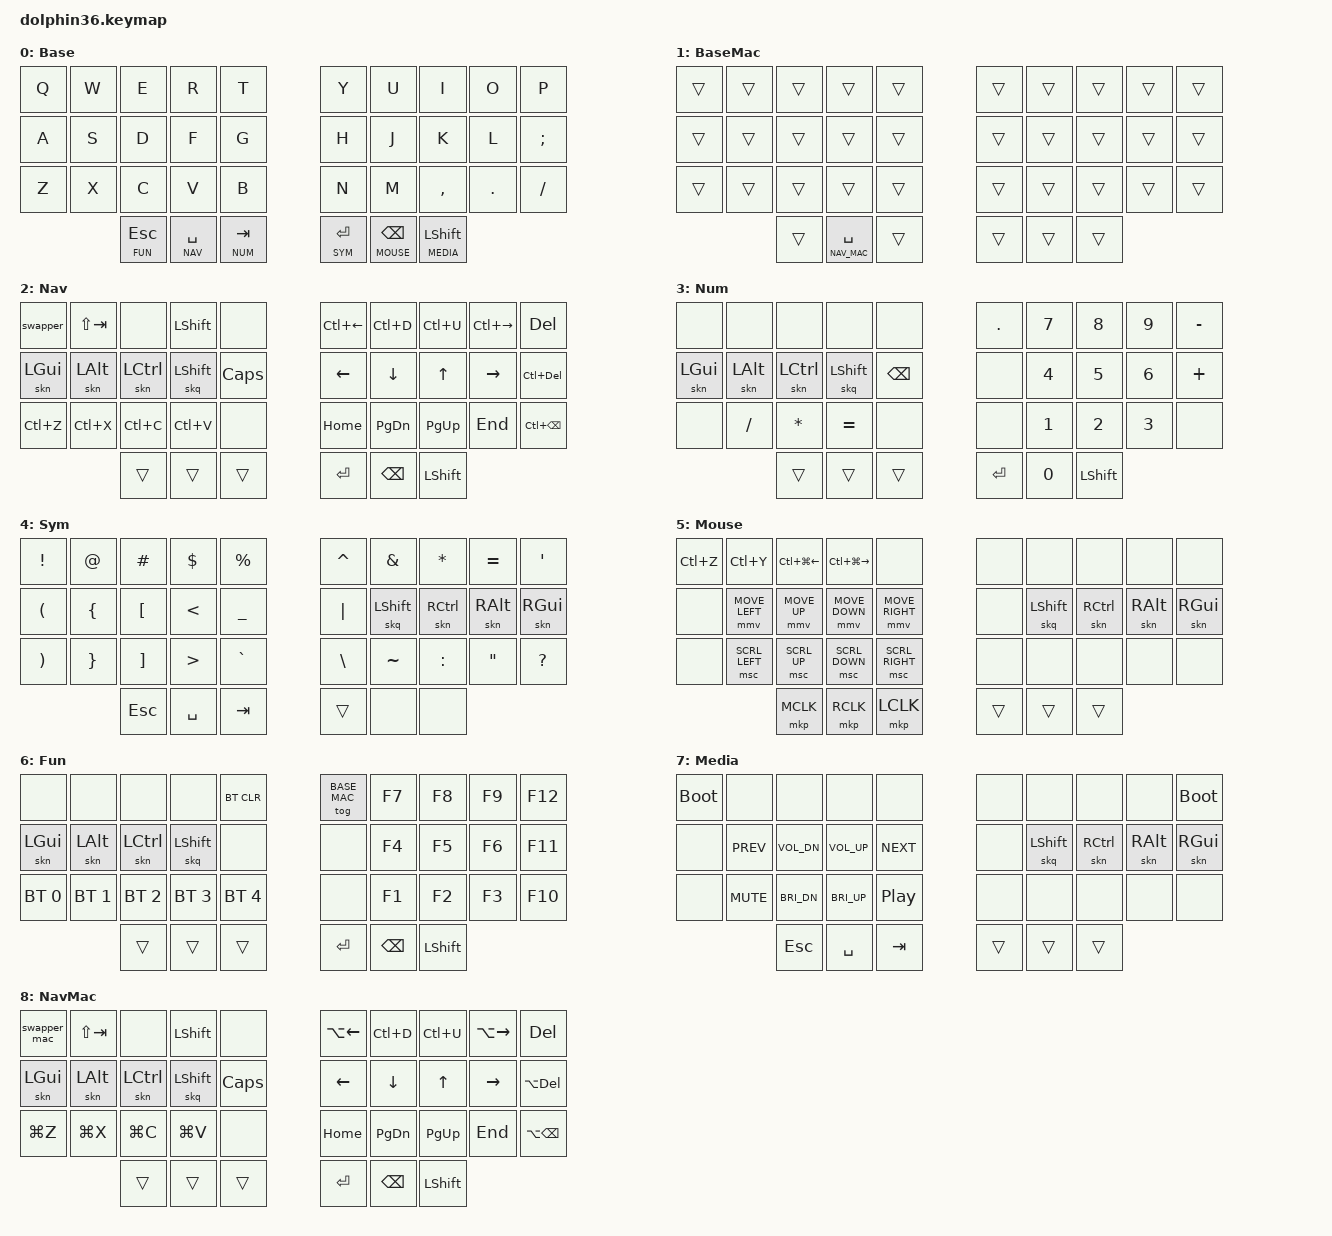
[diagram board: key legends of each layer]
/*
 * Dolphin36 36 键布局
 * 自制 PCB = Ferris Sweep 核心区 + 每侧 3 拇指键（3x5+3 Corne 黄金布局）
 * SW1~SW17 pin 分配沿用原版 cradio，SW18 为新增拇指键
 *
 * 布局：3x5+3 (每侧 18 键)
 * 拇指键：
 *   左（外→内）: ESC(FUN) SPACE(NAV) TAB(NUM)
 *   右（内→外）: ENTER(SYM) BSPC(MOUSE) LSHFT(MEDIA)
 *   Combo：仅保留双拇指切层（左 SPACE+TAB = FUN，右 ENTER+BSPC = MEDIA）；
 *          主键区 S+D / F+J / J+K 已移除（拇指区已有物理 ESC 与 LSHFT）
 *
 * Layer 0: Base     - QWERTY
 * Layer 1: BaseMac  - Mac 模式开关层（FUN+Y 切换）：全透明，仅左拇指 SPACE 进入 NavMac
 * Layer 2: Nav      - 左手 OSM + 右手 Vim HJKL
 * Layer 3: Numpad   - 左手算术运算 + 右手纯数字九宫格
 * Layer 4: Symbols  - 左手符号区 + 右手 OSM 修饰键
 * Layer 5: Mouse    - 左手鼠标移动/滚轮/点击 + 右手 OSM
 * Layer 6: Function - 左手 OSM/BT + 右手 F 键九宫格（Y 位 = Win/Mac 模式开关）
 * Layer 7: Media    - 左手媒体/音量/亮度 + 右手 OSM
 * Layer 8: NavMac   - Nav 的 Mac 版 (Cmd 剪贴板, Option 词跳)
 *
 * SPDX-License-Identifier: MIT
 */

#include <behaviors.dtsi>
#include <dt-bindings/zmk/keys.h>
#include <dt-bindings/zmk/bt.h>
#include <dt-bindings/zmk/outputs.h>

#define ZMK_POINTING_DEFAULT_MOVE_VAL 1500
#define ZMK_POINTING_DEFAULT_SCRL_VAL 20
#include <dt-bindings/zmk/pointing.h>

#define BASE     0
#define BASE_MAC 1
#define NAV      2
#define NUM      3
#define SYM      4
#define MOUSE    5
#define FUN      6
#define MEDIA    7
#define NAV_MAC  8

// Dolphin36 键位编号 (36 键):
//  0  1  2  3  4       5  6  7  8  9
// 10 11 12 13 14      15 16 17 18 19
// 20 21 22 23 24      25 26 27 28 29
//          30 31 32  33 34 35

&mmv {
    acceleration-exponent = <1>;
    time-to-max-speed-ms = <500>;
    delay-ms = <0>;
};

&msc {
    acceleration-exponent = <1>;
    time-to-max-speed-ms = <500>;
    delay-ms = <0>;
};

// Caps Word 属性覆写（当前 dolphin36 已无按键/combo 触发 &caps_word，
// 保留此覆写以便随时把它挂回某个键位，例如 Nav 层 G 位）
&caps_word {
    continue-list = <UNDERSCORE MINUS BSPC DEL>;
};

/ {
    behaviors {
        skq: sticky_key_quick_release {
            compatible = "zmk,behavior-sticky-key";
            #binding-cells = <1>;
            bindings = <&kp>;
            release-after-ms = <1000>;
            quick-release;
            ignore-modifiers;
        };

        skn: sticky_key_normal {
            compatible = "zmk,behavior-sticky-key";
            #binding-cells = <1>;
            bindings = <&kp>;
            release-after-ms = <1000>;
            ignore-modifiers;
        };

        tlt: thumb_layer_tap {
            compatible = "zmk,behavior-hold-tap";
            #binding-cells = <2>;
            flavor = "balanced";
            tapping-term-ms = <200>;
            quick-tap-ms = <150>;
            bindings = <&mo>, <&kp>;
        };
    };

    macros {
        swapper: swapper {
            compatible = "zmk,behavior-macro";
            #binding-cells = <0>;
            wait-ms = <30>;
            tap-ms = <30>;
            bindings
                = <&macro_press &kp LALT>
                , <&macro_tap &kp TAB>
                , <&macro_pause_for_release>
                , <&macro_release &kp LALT>
                ;
        };

        swapper_mac: swapper_mac {
            compatible = "zmk,behavior-macro";
            #binding-cells = <0>;
            wait-ms = <30>;
            tap-ms = <30>;
            bindings
                = <&macro_press &kp LGUI>
                , <&macro_tap &kp TAB>
                , <&macro_pause_for_release>
                , <&macro_release &kp LGUI>
                ;
        };
    };

    combos {
        compatible = "zmk,combos";

        // 主键区 combo 全部移除：36 键拇指区已提供物理 ESC(左外) 与 LSHFT(右外)，
        // S+D / J+K 属纯冗余；F+J (Caps Word) 一并按需求去掉。
        // 仅保留双拇指 combo 作为切层兜底。

        // 左双拇指 (SPACE + TAB) = FUN 层（冗余触发，等价于长按 ESC）
        combo_fun_layer {
            timeout-ms = <50>;
            key-positions = <31 32>;
            bindings = <&mo FUN>;
            layers = <BASE BASE_MAC>;
        };

        // 右双拇指 (ENTER + BSPC) = MEDIA 层（冗余触发，等价于长按 LSHFT）
        combo_media_layer {
            timeout-ms = <50>;
            key-positions = <33 34>;
            bindings = <&mo MEDIA>;
            layers = <BASE BASE_MAC>;
        };
    };

    keymap {
        compatible = "zmk,keymap";

        default_layer {
            display-name = "Base";
// ┌─────┬─────┬─────┬─────┬─────┐   ┌─────┬─────┬─────┬─────┬─────┐
// │  Q  │  W  │  E  │  R  │  T  │   │  Y  │  U  │  I  │  O  │  P  │
// ├─────┼─────┼─────┼─────┼─────┤   ├─────┼─────┼─────┼─────┼─────┤
// │  A  │  S  │  D  │  F  │  G  │   │  H  │  J  │  K  │  L  │  ;  │
// ├─────┼─────┼─────┼─────┼─────┤   ├─────┼─────┼─────┼─────┼─────┤
// │  Z  │  X  │  C  │  V  │  B  │   │  N  │  M  │  ,  │  .  │  /  │
// └─────┴─────┼─────┼─────┼─────┤   ├─────┼─────┼─────┼─────┴─────┘
//             │ ESC │SPACE│ TAB │   │ENTER│BSPC │LSHFT│
//             │(FUN)│(NAV)│(NUM)│   │(SYM)│(MOU)│(MED)│
//             └─────┴─────┴─────┘   └─────┴─────┴─────┘
            bindings = <
&kp Q  &kp W  &kp E  &kp R  &kp T       &kp Y  &kp U  &kp I      &kp O    &kp P
&kp A  &kp S  &kp D  &kp F  &kp G       &kp H  &kp J  &kp K      &kp L    &kp SEMI
&kp Z  &kp X  &kp C  &kp V  &kp B       &kp N  &kp M  &kp COMMA  &kp DOT  &kp FSLH
       &tlt FUN ESC  &tlt NAV SPACE  &tlt NUM TAB    &tlt SYM RET  &tlt MOUSE BSPC  &tlt MEDIA LSHFT
            >;
        };

        base_mac_layer {
            display-name = "BaseMac";
// Mac 模式开关层（FUN + Y 切换）：全透明，仅左拇指 SPACE 改为进入 NAV_MAC
            bindings = <
&trans  &trans  &trans  &trans  &trans      &trans  &trans  &trans  &trans  &trans
&trans  &trans  &trans  &trans  &trans      &trans  &trans  &trans  &trans  &trans
&trans  &trans  &trans  &trans  &trans      &trans  &trans  &trans  &trans  &trans
       &trans  &tlt NAV_MAC SPACE  &trans          &trans  &trans  &trans
            >;
        };

        nav_layer {
            display-name = "Nav";
// ┌─────┬─────┬─────┬─────┬─────┐   ┌─────┬─────┬─────┬─────┬─────┐
// │ SWP │S-TAB│none │LSHFT│none │   │C(←) │ C-D │ C-U │C(→) │ DEL │
// ├─────┼─────┼─────┼─────┼─────┤   ├─────┼─────┼─────┼─────┼─────┤
// │ GUI │ ALT │CTRL │LSHFT│CAPW │   │  ←  │  ↓  │  ↑  │  →  │C(DEL)│
// ├─────┼─────┼─────┼─────┼─────┤   ├─────┼─────┼─────┼─────┼─────┤
// │C(Z) │C(X) │C(C) │C(V) │none │   │HOME │PgDn │PgUp │ END │C(BS)│
// └─────┴─────┼─────┼─────┼─────┤   ├─────┼─────┼─────┼─────┴─────┘
//             │     │▓▓▓▓▓│     │   │ENTER│BSPC │LSHFT│
//             └─────┴─────┴─────┘   └─────┴─────┴─────┘
            bindings = <
&swapper   &kp LS(TAB)  &none      &kp LSHFT  &none        &kp LC(LEFT) &kp LC(D)  &kp LC(U)  &kp LC(RIGHT) &kp DEL
&skn LGUI  &skn LALT    &skn LCTRL &skq LSHFT &kp CAPS     &kp LEFT     &kp DOWN   &kp UP     &kp RIGHT     &kp LC(DEL)
&kp LC(Z)  &kp LC(X)    &kp LC(C)  &kp LC(V)  &none        &kp HOME     &kp PG_DN  &kp PG_UP  &kp END       &kp LC(BSPC)
           &trans       &trans     &trans                  &kp RET      &kp BSPC   &kp LSHFT
            >;
        };

        num_layer {
            display-name = "Num";
// ┌─────┬─────┬─────┬─────┬─────┐   ┌─────┬─────┬─────┬─────┬─────┐
// │     │     │     │     │     │   │  .  │  7  │  8  │  9  │  -  │
// ├─────┼─────┼─────┼─────┼─────┤   ├─────┼─────┼─────┼─────┼─────┤
// │ GUI │ ALT │CTRL │LSHFT│BSPC │   │     │  4  │  5  │  6  │  +  │
// ├─────┼─────┼─────┼─────┼─────┤   ├─────┼─────┼─────┼─────┼─────┤
// │     │  /  │  *  │  =  │     │   │     │  1  │  2  │  3  │     │
// └─────┴─────┼─────┼─────┼─────┤   ├─────┼─────┼─────┼─────┴─────┘
//             │     │     │▓▓▓▓▓│   │ENTER│  0  │LSHFT│
//             └─────┴─────┴─────┘   └─────┴─────┴─────┘
            bindings = <
&none      &none      &none       &none      &none       &kp DOT   &kp N7  &kp N8  &kp N9  &kp MINUS
&skn LGUI  &skn LALT  &skn LCTRL  &skq LSHFT &kp BSPC    &none     &kp N4  &kp N5  &kp N6  &kp PLUS
&none      &kp FSLH   &kp ASTRK   &kp EQUAL  &none       &none     &kp N1  &kp N2  &kp N3  &none
           &trans     &trans      &trans                 &kp RET   &kp N0  &kp LSHFT
            >;
        };

        sym_layer {
            display-name = "Sym";
// ┌─────┬─────┬─────┬─────┬─────┐   ┌─────┬─────┬─────┬─────┬─────┐
// │  !  │  @  │  #  │  $  │  %  │   │  ^  │  &  │  *  │  =  │  '  │
// ├─────┼─────┼─────┼─────┼─────┤   ├─────┼─────┼─────┼─────┼─────┤
// │  (  │  {  │  [  │  <  │  _  │   │  |  │LSHFT│CTRL │ ALT │ GUI │
// ├─────┼─────┼─────┼─────┼─────┤   ├─────┼─────┼─────┼─────┼─────┤
// │  )  │  }  │  ]  │  >  │  `  │   │  \  │  ~  │  :  │  "  │  ?  │
// └─────┴─────┼─────┼─────┼─────┤   ├─────┼─────┼─────┼─────┴─────┘
//             │ ESC │SPACE│ TAB │   │▓▓▓▓▓│     │     │
//             └─────┴─────┴─────┘   └─────┴─────┴─────┘
            bindings = <
&kp EXCL  &kp AT    &kp HASH  &kp DLLR   &kp PRCNT   &kp CARET  &kp AMPS    &kp ASTRK   &kp EQUAL  &kp SQT
&kp LPAR  &kp LBRC  &kp LBKT  &kp LT     &kp UNDER   &kp PIPE   &skq LSHFT  &skn RCTRL  &skn RALT  &skn RGUI
&kp RPAR  &kp RBRC  &kp RBKT  &kp GT     &kp GRAVE   &kp BSLH   &kp TILDE   &kp COLON   &kp DQT    &kp QMARK
          &kp ESC   &kp SPACE &kp TAB                &trans     &none       &none
            >;
        };

        mouse_layer {
            display-name = "Mouse";
// ┌─────┬─────┬─────┬─────┬─────┐   ┌─────┬─────┬─────┬─────┬─────┐
// │UNDO │REDO │VD_L │VD_R │     │   │     │     │     │     │     │
// ├─────┼─────┼─────┼─────┼─────┤   ├─────┼─────┼─────┼─────┼─────┤
// │     │ ML  │ MU  │ MD  │ MR  │   │     │LSHFT│CTRL │ ALT │ GUI │
// ├─────┼─────┼─────┼─────┼─────┤   ├─────┼─────┼─────┼─────┼─────┤
// │     │WH_L │WH_U │WH_D │WH_R │   │     │     │     │     │     │
// └─────┴─────┼─────┼─────┼─────┤   ├─────┼─────┼─────┼─────┴─────┘
//             │MCLK │RCLK │LCLK │   │     │▓▓▓▓▓│     │
//             └─────┴─────┴─────┘   └─────┴─────┴─────┘
            bindings = <
&kp LC(Z)  &kp LC(Y)      &kp LC(LG(LEFT)) &kp LC(LG(RIGHT)) &none            &none   &none      &none      &none     &none
&none      &mmv MOVE_LEFT &mmv MOVE_UP     &mmv MOVE_DOWN    &mmv MOVE_RIGHT  &none   &skq LSHFT &skn RCTRL &skn RALT &skn RGUI
&none      &msc SCRL_LEFT &msc SCRL_UP     &msc SCRL_DOWN    &msc SCRL_RIGHT  &none   &none      &none      &none     &none
           &mkp MCLK      &mkp RCLK        &mkp LCLK                          &trans  &trans     &trans
            >;
        };

        fun_layer {
            display-name = "Fun";
// ┌─────┬─────┬─────┬─────┬─────┐   ┌─────┬─────┬─────┬─────┬─────┐
// │     │     │     │     │BTCLR│   │ MAC │ F7  │ F8  │ F9  │ F12 │
// ├─────┼─────┼─────┼─────┼─────┤   ├─────┼─────┼─────┼─────┼─────┤
// │ GUI │ ALT │CTRL │LSHFT│     │   │     │ F4  │ F5  │ F6  │ F11 │
// ├─────┼─────┼─────┼─────┼─────┤   ├─────┼─────┼─────┼─────┼─────┤
// │ BT0 │ BT1 │ BT2 │ BT3 │ BT4 │   │     │ F1  │ F2  │ F3  │ F10 │
// └─────┴─────┼─────┼─────┼─────┤   ├─────┼─────┼─────┼─────┴─────┘
//             │▓▓▓▓▓│     │     │   │ENTER│BSPC │LSHFT│
//             └─────┴─────┴─────┘   └─────┴─────┴─────┘
            bindings = <
&none         &none         &none         &none         &bt BT_CLR   &tog BASE_MAC    &kp F7   &kp F8  &kp F9  &kp F12
&skn LGUI     &skn LALT     &skn LCTRL    &skq LSHFT    &none        &none    &kp F4   &kp F5  &kp F6  &kp F11
&bt BT_SEL 0  &bt BT_SEL 1  &bt BT_SEL 2  &bt BT_SEL 3 &bt BT_SEL 4         &none    &kp F1   &kp F2  &kp F3  &kp F10
              &trans        &trans        &trans                     &kp RET  &kp BSPC &kp LSHFT
            >;
        };

        media_layer {
            display-name = "Media";
// ┌─────┬─────┬─────┬─────┬─────┐   ┌─────┬─────┬─────┬─────┬─────┐
// │BOOT │     │     │     │     │   │     │     │     │     │BOOT │
// ├─────┼─────┼─────┼─────┼─────┤   ├─────┼─────┼─────┼─────┼─────┤
// │     │PREV │VOL_D│VOL_U│NEXT │   │     │LSHFT│CTRL │ ALT │ GUI │
// ├─────┼─────┼─────┼─────┼─────┤   ├─────┼─────┼─────┼─────┼─────┤
// │     │MUTE │BRI_D│BRI_U│PLAY │   │     │     │     │     │     │
// └─────┴─────┼─────┼─────┼─────┤   ├─────┼─────┼─────┼─────┴─────┘
//             │ ESC │SPACE│ TAB │   │     │     │▓▓▓▓▓│
//             └─────┴─────┴─────┘   └─────┴─────┴─────┘
            bindings = <
&bootloader  &none       &none        &none        &none        &none   &none      &none      &none     &bootloader
&none        &kp C_PREV  &kp C_VOL_DN &kp C_VOL_UP &kp C_NEXT   &none   &skq LSHFT &skn RCTRL &skn RALT &skn RGUI
&none        &kp C_MUTE  &kp C_BRI_DN &kp C_BRI_UP &kp C_PP     &none   &none      &none      &none     &none
             &kp ESC     &kp SPACE    &kp TAB              &trans  &trans     &trans
            >;
        };

        nav_mac_layer {
            display-name = "NavMac";
// Nav 的 Mac 版：剪贴板走 Cmd，词跳/删词走 Option。由 BaseMac 层（FUN+Y 开关）的左拇指进入
// ┌─────┬─────┬─────┬─────┬─────┐   ┌─────┬─────┬─────┬─────┬─────┐
// │ SWP │S-TAB│none │LSHFT│none │   │A(←) │ C-D │ C-U │A(→) │ DEL │
// ├─────┼─────┼─────┼─────┼─────┤   ├─────┼─────┼─────┼─────┼─────┤
// │ GUI │ ALT │CTRL │LSHFT│CAPS │   │  ←  │  ↓  │  ↑  │  →  │A(DEL)│
// ├─────┼─────┼─────┼─────┼─────┤   ├─────┼─────┼─────┼─────┼─────┤
// │G(Z) │G(X) │G(C) │G(V) │none │   │HOME │PgDn │PgUp │ END │A(BS)│
// └─────┴─────┼─────┼─────┼─────┤   ├─────┼─────┼─────┼─────┴─────┘
//             │     │▓▓▓▓▓│     │   │ENTER│BSPC │LSHFT│
//             └─────┴─────┴─────┘   └─────┴─────┴─────┘
            bindings = <
&swapper_mac &kp LS(TAB)  &none      &kp LSHFT  &none        &kp LA(LEFT) &kp LC(D)  &kp LC(U)  &kp LA(RIGHT) &kp DEL
&skn LGUI    &skn LALT    &skn LCTRL &skq LSHFT &kp CAPS     &kp LEFT     &kp DOWN   &kp UP     &kp RIGHT     &kp LA(DEL)
&kp LG(Z)    &kp LG(X)    &kp LG(C)  &kp LG(V)  &none        &kp HOME     &kp PG_DN  &kp PG_UP  &kp END       &kp LA(BSPC)
             &trans       &trans     &trans                  &kp RET      &kp BSPC   &kp LSHFT
            >;
        };
    };
};
